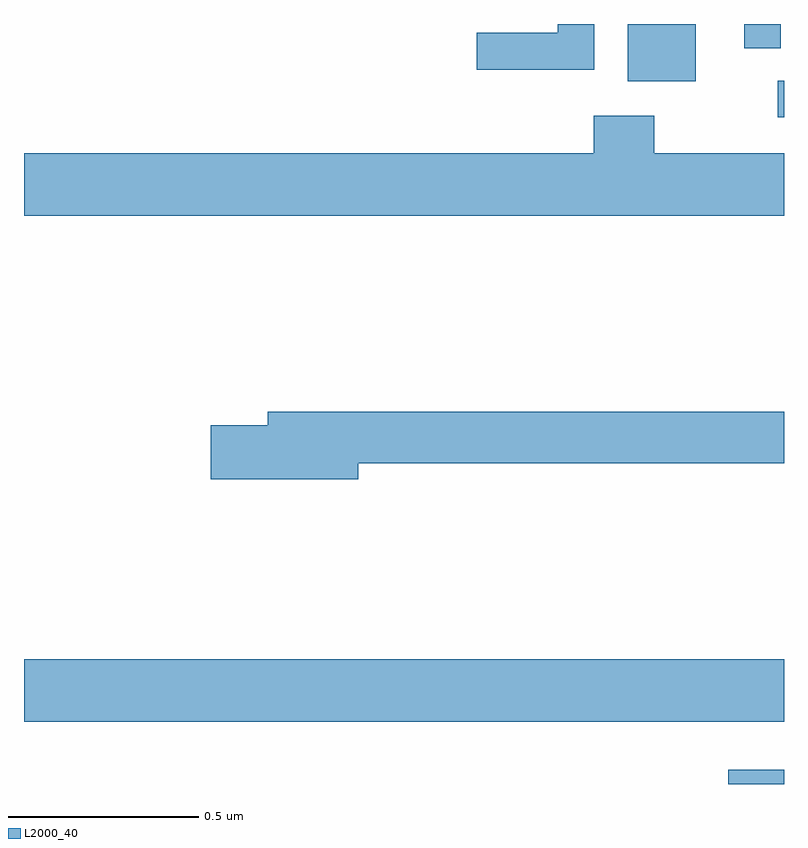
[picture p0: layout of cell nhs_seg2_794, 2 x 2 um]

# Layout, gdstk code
import gdstk
lib = gdstk.Library(unit=1e-6, precision=1e-09)
def R(c, l, rs):  # rectangles x0, y0, x1, y1
    for r in rs: c.add(gdstk.rectangle(r[:2], r[2:], *l))
def P(c, l, *ps):  # polygons
    for p in ps: c.add(gdstk.Polygon(p, *l))
L2000_40 = (2000, 40)

nhs_seg2_794 = lib.new_cell('nhs_seg2_794')
R(nhs_seg2_794, L2000_40, [(121.853,652.8,122,652.837), (120,652.964,122,653.128), (121.983,654.555,122,654.651), (121.589,654.65,121.768,654.8), (121.896,654.736,121.992,654.8)])
P(nhs_seg2_794, L2000_40, [(121.5,654.8),(121.404,654.8),(121.404,654.777),(121.191,654.777),(121.191,654.679),(121.5,654.679)],
  [(122,654.46),(121.659,654.46),(121.659,654.559),(121.499,654.559),(121.499,654.46),(120,654.46),(120,654.296),(122,654.296)],
  [(120.88,653.644),(122,653.644),(122,653.78),(120.641,653.78),(120.641,653.744),(120.492,653.744),(120.492,653.602),(120.88,653.602)])

lib.write_gds('nhs_seg2_794.gds')
